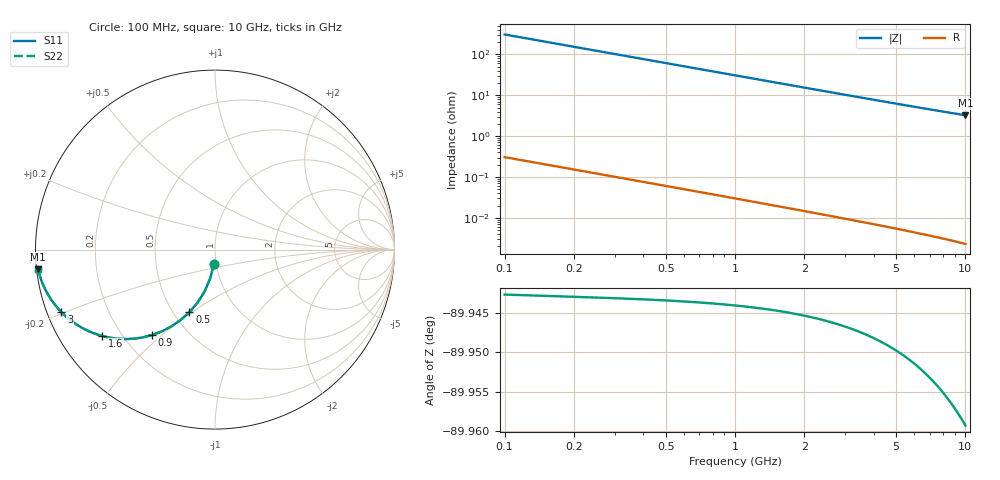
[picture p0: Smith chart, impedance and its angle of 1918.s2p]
# Hz S RI R 50.00
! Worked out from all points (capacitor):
!   100 points, 100 MHz to 10 GHz, reference 50 ohm
!   read as one part in shunt: C = 5.19 pF near 100 MHz
!   lowest |Z| = 3.25 ohm at 10 GHz (marker M1)
!   S11 on the Smith chart (normalised r, x): 100 MHz: 0.97, -0.16; 500 MHz: 0.60, -0.49; 900 MHz: 0.32, -0.46; 1.6 GHz: 0.13, -0.33; 3 GHz: 0.04, -0.20; 10 GHz: 0.00, -0.06
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1e8  -0.00664 -0.0808  0.9933 -0.081  0.9933 -0.081  -0.00664 -0.0808
2e8  -0.026 -0.1585  0.974 -0.1588  0.974 -0.1588  -0.026 -0.1585
3e8  -0.0565 -0.2302  0.9434 -0.2307  0.9434 -0.2307  -0.0565 -0.2302
4e8  -0.0962 -0.294  0.9038 -0.2947  0.9038 -0.2947  -0.0962 -0.294
5e8  -0.1425 -0.3486  0.8575 -0.3495  0.8575 -0.3495  -0.1425 -0.3486
6e8  -0.193 -0.3937  0.8069 -0.3947  0.8069 -0.3947  -0.193 -0.3937
7e8  -0.2455 -0.4293  0.7544 -0.4305  0.7544 -0.4305  -0.2455 -0.4293
9e8  -0.3496 -0.4756  0.6503 -0.4771  0.6503 -0.4771  -0.3496 -0.4756
1.2e9  -0.4885 -0.4983  0.5115 -0.5004  0.5115 -0.5004  -0.4885 -0.4983
1.4e9  -0.5651 -0.494  0.4349 -0.4964  0.4349 -0.4964  -0.5651 -0.494
1.6e9  -0.6291 -0.4812  0.3708 -0.4839  0.3708 -0.4839  -0.6291 -0.4812
1.8e9  -0.6821 -0.4636  0.3178 -0.4667  0.3178 -0.4667  -0.6821 -0.4636
2e9  -0.7259 -0.4438  0.274 -0.4472  0.274 -0.4472  -0.7259 -0.4438
2.3e9  -0.7779 -0.4132  0.2221 -0.4171  0.2221 -0.4171  -0.7779 -0.4132
2.6e9  -0.8173 -0.3836  0.1826 -0.3881  0.1826 -0.3881  -0.8173 -0.3836
3e9  -0.8562 -0.3477  0.1437 -0.3529  0.1437 -0.3529  -0.8562 -0.3477
3.4e9  -0.8843 -0.3163  0.1156 -0.3222  0.1156 -0.3222  -0.8843 -0.3163
4.2e9  -0.921 -0.2654  0.0788 -0.2727  0.0788 -0.2727  -0.921 -0.2654
5.1e9  -0.9451 -0.2227  0.0548 -0.2316  0.0548 -0.2316  -0.9451 -0.2227
6.7e9  -0.9675 -0.1707  0.0323 -0.1825  0.0323 -0.1825  -0.9675 -0.1707
8.4e9  -0.9792 -0.1344  0.0206 -0.1494  0.0206 -0.1494  -0.9792 -0.1344
1e10  -0.9853 -0.1103  0.0144 -0.1283  0.0144 -0.1283  -0.9853 -0.1103
